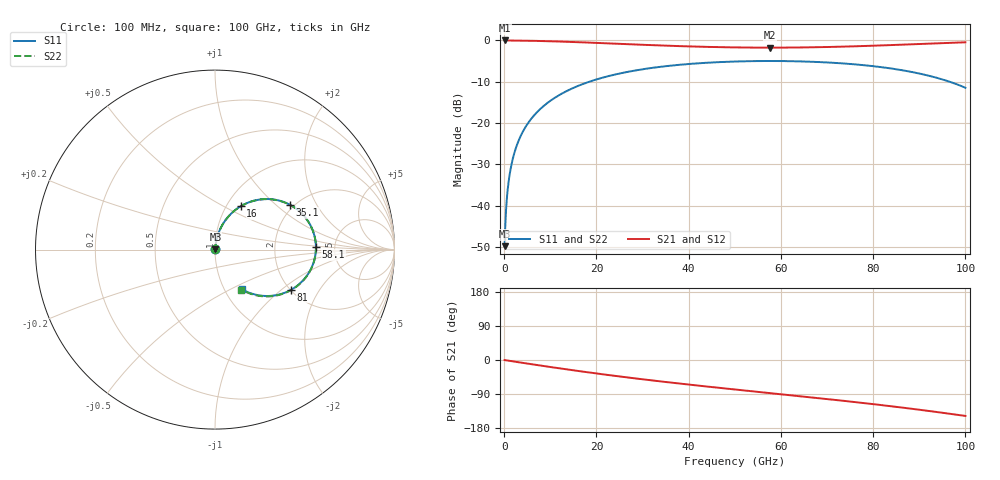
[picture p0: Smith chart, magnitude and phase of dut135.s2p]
! Touchstone file exported from HFSS 2026.1.0
!  File:  C:/ffzhzh/LocalFiles/Ansys_Project_Files/temp_train_RDL_135_1783499657_41296.aedt
!  Generated:  04:35:33 PM Jul  8, 2026
!  Design:  RDL
!  Project:  temp_train_RDL_135_1783499657_41296
! Variables:
!  h_bsmrdl = 2um
!  h_ox = 20um
!  h_rdl = 5um
!  h_sub = 80um
!  h_tmrdl = 3.68um
!  h_tsv = 80um
!  h_via = 3um
!  l_bsmrdl = 300um
!  l_sub = 898.51um
!  l_tmrdl = 498.51um
!  m_sub = 200um
!  pitch = 49.28um
!  r_tsv = 6um
!  s_tmrdl = 10um
!  w_bsmrdl = 18um
!  w_sub = 500um
!  w_tmrdl = 21.58um
!  x_tsv_center1 = 509.3um
!  x_tsv_center2 = 827.3um
!  x_tsv_center3 = 1347.39um
!  x_tsv_center4 = 1665.39um
!  x_tsv_center5 = 2185.48um
!  x_tsv_center6 = 2503.48um
# GHz S MA R 50.000000
! Terminal data exported
! Port[1] = TM_RDL1_1_T1
! Port[2] = TM_RDL1_1_T2
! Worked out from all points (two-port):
!   1000 points, 100 MHz to 100 GHz, reference 50 ohm
!   highest |S21| = -0.02 dB at 100 MHz (marker M1); lowest = -1.8 dB at 57.6 GHz (marker M2)
!   |S21| within 3 dB of the highest: start of sweep to end of sweep
!   lowest |S11| = -49.8 dB at 100 MHz (marker M3), VSWR 1.01, Z = 50.2 + j0.214 ohm
!   |S11| at or under -10 dB: start of sweep to 18.5 GHz; 96.53 GHz to end of sweep
!   |S22| runs from -49.8 to -5.0 dB; largest |S21 - S12| = 1.7e-14
!   S11 on the Smith chart (normalised r, x): 100 MHz: 1.00, +0.00; 16 GHz: 1.16, +0.61; 35.1 GHz: 1.91, +1.25; 58.1 GHz: 3.56, +0.16; 81 GHz: 2.02, -1.17; 100 GHz: 1.20, -0.57
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0.1  0.003223 41.4  0.9976 -0.2  0.9976 -0.2  0.003223 41.4
! Gamma 0 0 0 0
! Port Impedance 50 0 50 0
0.8  0.0162 77.8  0.9969 -1.5  0.9969 -1.5  0.0162 77.8
1.1  0.02194 79.8  0.9967 -2.1  0.9967 -2.1  0.02194 79.8
1.4  0.02771 80.7  0.9964 -2.7  0.9964 -2.7  0.02771 80.7
2.4  0.04697 81.2  0.9954 -4.6  0.9954 -4.6  0.04697 81.2
3.9  0.07557 79.5  0.993 -7.4  0.993 -7.4  0.07557 79.5
5.9  0.1128 76.3  0.9884 -11.1  0.9884 -11.1  0.1128 76.3
8.6  0.1611 71.7  0.9804 -16.0  0.9804 -16.0  0.1611 71.7
11.9  0.2169 66.1  0.9684 -21.8  0.9684 -21.8  0.2169 66.1
16  0.2806 59.3  0.951 -28.9  0.951 -28.9  0.2806 59.3
16.8  0.2923 58.0  0.9473 -30.2  0.9473 -30.2  0.2923 58.0
24.2  0.3877 46.4  0.9118 -42.2  0.9118 -42.2  0.3878 46.4
33.4  0.4748 33.1  0.8697 -55.8  0.8697 -55.8  0.4749 33.0
35.1  0.4873 30.8  0.8628 -58.2  0.8628 -58.2  0.4873 30.7
50.1  0.5546 11.4  0.8218 -77.9  0.8218 -77.9  0.5547 11.2
57.6  0.5627 2.2  0.8165 -87.3  0.8165 -87.3  0.5627 2.0
58.1  0.5626 1.6  0.8165 -87.9  0.8165 -87.9  0.5627 1.4
66.7  0.5508 -9.1  0.8242 -98.7  0.8242 -98.7  0.5509 -9.3
81  0.48 -27.7  0.8654 -117.8  0.8654 -117.8  0.4801 -28.1
83.4  0.461 -31.1  0.8751 -121.3  0.8751 -121.3  0.4611 -31.4
92.4  0.3693 -44.2  0.9154 -135.0  0.9154 -135.0  0.3694 -44.7
100  0.2668 -55.9  0.9479 -147.6  0.9479 -147.6  0.2668 -56.6
